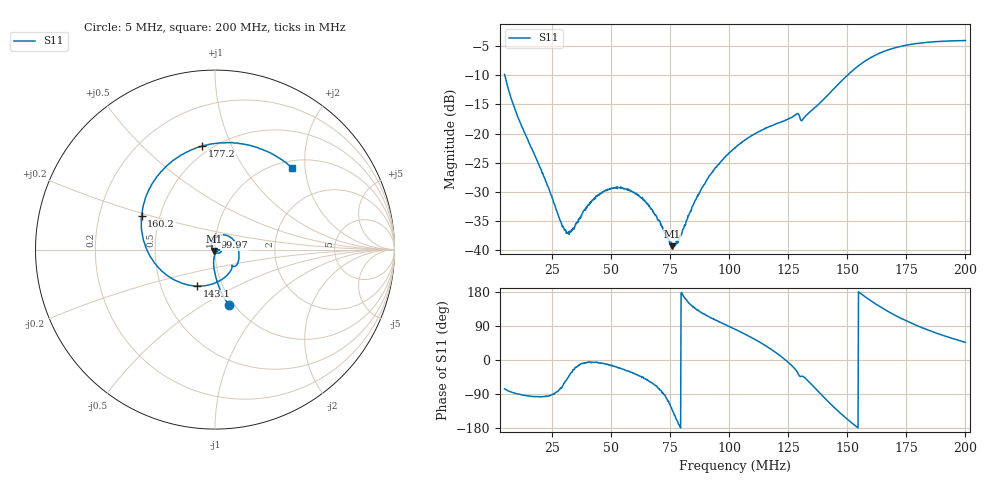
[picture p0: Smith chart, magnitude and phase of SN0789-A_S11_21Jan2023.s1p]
# Hz S DB R 50
! CMT, M5045, 22160017, 22.4.3/2
! Date: 1/21/2023 20:13:46
! Data: Format (Calibration Info)
! Freq	S11:dB/Ang(F1)
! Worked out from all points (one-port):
!   1001 points, 5 MHz to 200 MHz, reference 50 ohm
!   lowest |S11| = -39.3 dB at 75.78 MHz (marker M1), VSWR 1.02, Z = 49.3 - j0.826 ohm
!   |S11| at or under -10 dB: 5.074 MHz to 150.1 MHz (145.1 MHz wide, 187 % of centre)
!   S11 on the Smith chart (normalised r, x): 5 MHz: 0.95, -0.66; 99.97 MHz: 0.99, +0.14; 143.1 MHz: 0.76, -0.32; 160.2 MHz: 0.40, +0.19; 177.2 MHz: 0.45, +0.78; 200 MHz: 1.15, +1.71
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5000000  -9.87 -75.9
8510000  -14.87 -86.0
1.2995e7  -19.41 -93.1
2.2745e7  -28.50 -95.3
2.9375e7  -35.96 -70.7
3.2495e7  -36.74 -40.3
4.3805e7  -30.77 -5.9
5.375e7  -29.30 -21.2
6.4085e7  -31.53 -48.8
7.5785e7  -39.29 -129.5
7.8125e7  -38.48 -161.4
8.924e7  -28.86 122.2
9.9965e7  -23.32 88.7
1.025e8  -22.40 81.1
1.1537e8  -19.08 38.1
1.26875e8  -17.11 -17.0
1.28825e8  -16.60 -31.4
1.3136e8  -17.45 -43.8
1.3682e8  -15.36 -76.9
1.4306e8  -12.87 -116.6
1.5125e8  -9.58 -162.7
1.5593e8  -8.06 174.3
1.6022e8  -6.95 155.4
1.6802e8  -5.57 125.5
1.75625e8  -4.82 101.5
1.77185e8  -4.72 97.1
1.8713e8  -4.28 72.4
2e8  -4.07 46.5
